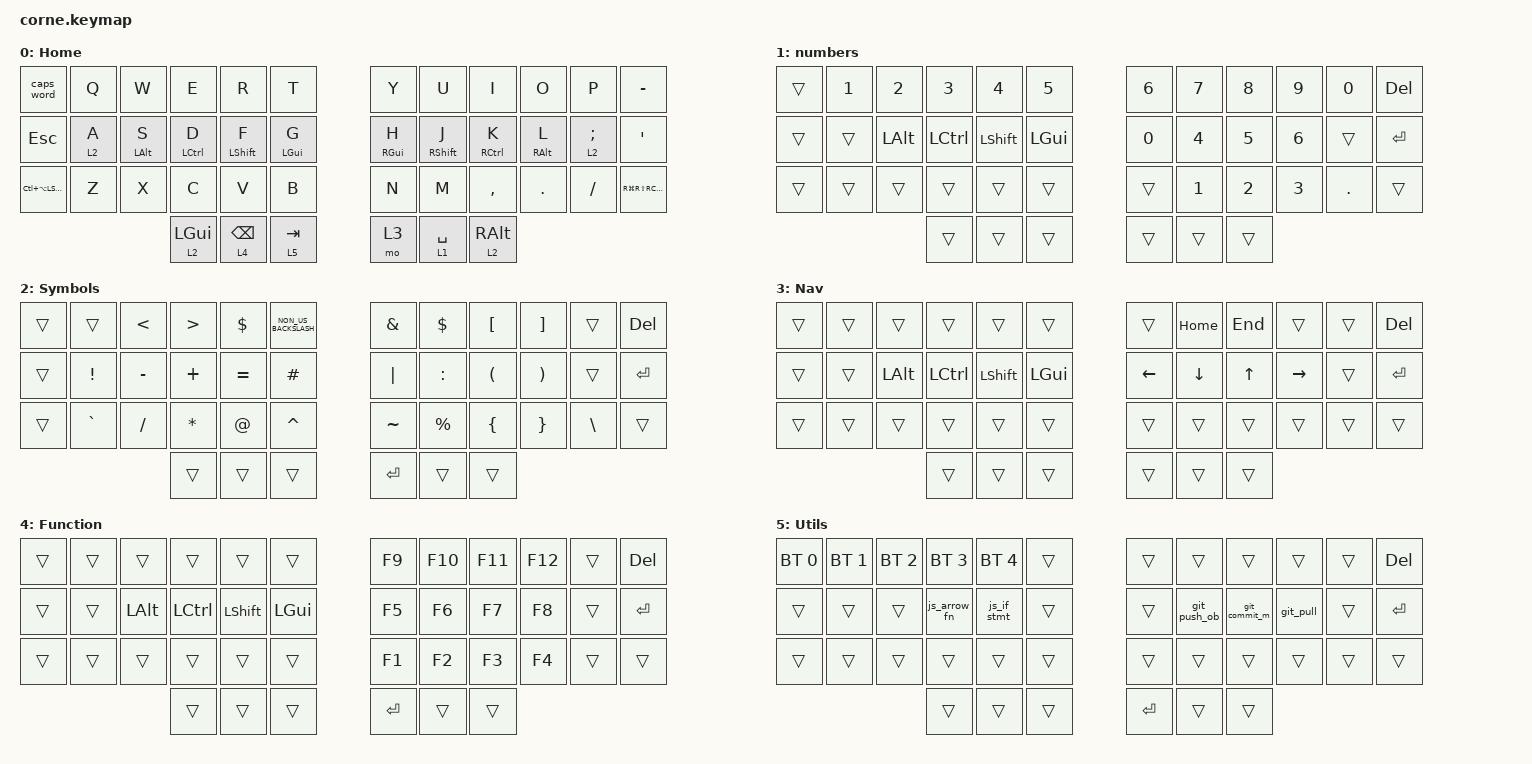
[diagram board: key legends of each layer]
/*
 * Copyright (c) 2020 The ZMK Contributors
 *
 * SPDX-License-Identifier: MIT
 */

#include <behaviors.dtsi>
#include <dt-bindings/zmk/bt.h>
#include <dt-bindings/zmk/keys.h>

/ {
    behaviors {
        hm_l: hm_l {
            compatible = "zmk,behavior-hold-tap";
            #binding-cells = <2>;
            flavor = "tap-preferred";
            tapping-term-ms = <175>;
            quick-tap-ms = <30>;

            // Optional but often GREAT for HRMs:

            hold-trigger-on-release;
            bindings = <&kp>, <&kp>;

            // allow holds only when next key is on RIGHT side (including right thumbs)

            hold-trigger-key-positions = <6 7 8 9 10 11 18 19 20 21 22 23 30 31 32 33 34 35 39 40 41>;
        };

        hm_r: hm_r {
            compatible = "zmk,behavior-hold-tap";
            #binding-cells = <2>;
            flavor = "tap-preferred";
            tapping-term-ms = <175>;
            quick-tap-ms = <30>;
            hold-trigger-on-release;
            bindings = <&kp>, <&kp>;

            // allow holds only when next key is on LEFT side (including left thumbs)

            hold-trigger-key-positions = <0 1 2 3 4 5 12 13 14 15 16 17 24 25 26 27 28 29 36 37 38>;
        };
    };

    combos {
        compatible = "zmk,combos";

        clear_bt {
            bindings = <&bt BT_CLR_ALL>;
            key-positions = <3 4 5 6 7 8>;
        };
    };

    macros {
        git_push_ob: git_push_ob {
            compatible = "zmk,behavior-macro";
            #binding-cells = <0>;
            bindings = <&kp G &kp I &kp T &kp SPACE &kp P &kp U &kp S &kp H &kp SPACE &kp MINUS &kp U &kp SPACE &kp O &kp R &kp I &kp G &kp I &kp N &kp SPACE &kp DLLR &kp LPAR &kp B &kp R &kp A &kp N &kp C &kp H &kp RPAR>;
            label = "GIT_PUSH_OB";
        };

        git_commit_m: git_commit_m {
            compatible = "zmk,behavior-macro";
            #binding-cells = <0>;
            bindings = <&kp G &kp I &kp T &kp SPACE &kp C &kp O &kp M &kp M &kp I &kp T &kp SPACE &kp MINUS &kp M &kp SPACE &kp DQT &kp DQT &kp LEFT>;
            label = "GIT_COMMIT_M";
        };

        git_pull: git_pull {
            compatible = "zmk,behavior-macro";
            #binding-cells = <0>;
            bindings = <&kp G &kp I &kp T &kp SPACE &kp P &kp U &kp L &kp L>;
            label = "GIT_PULL";
        };

        js_if_stmt: js_if_stmt {
            compatible = "zmk,behavior-macro";
            #binding-cells = <0>;
            bindings = <&kp I &kp F &kp SPACE &kp LPAR &kp RPAR &kp SPACE &kp LBRC &kp RBRC &kp LEFT_ARROW &kp LEFT &kp LEFT_ARROW &kp LEFT>;
            label = "JS_IF_STMT";
        };

        js_arrow_fn: js_arrow_fn {
            compatible = "zmk,behavior-macro";
            #binding-cells = <0>;
            bindings = <&kp LPAR &kp RPAR &kp SPACE &kp EQUAL &kp GT &kp SPACE &kp LBRC &kp RET &kp RET &kp RBRC &kp UP_ARROW &kp TAB>;
            label = "JS_ARROW_FN";
        };
    };

    keymap {
        compatible = "zmk,keymap";

        default_layer {
            display-name = "Home";
            bindings = <
&caps_word         &kp Q    &kp W             &kp E           &kp R               &kp T           &kp Y         &kp U                &kp I            &kp O              &kp P            &kp MINUS
&kp ESCAPE         &lt 2 A  &hm_l LEFT_ALT S  &hm_l LCTRL D   &hm_l LEFT_SHIFT F  &hm_l LGUI G    &hm_r RGUI H  &hm_r RIGHT_SHIFT J  &hm_r RCTRL K    &hm_r RIGHT_ALT L  &lt 2 SEMICOLON  &kp SQT
&kp LC(LA(LSHFT))  &kp Z    &kp X             &kp C           &kp V               &kp B           &kp N         &kp M                &kp COMMA        &kp DOT            &kp FSLH         &kp RG(RS(RC(RIGHT_ALT)))
                                              &lt 2 LEFT_GUI  &lt 4 BACKSPACE     &lt 5 TAB       &mo 3         &lt 1 SPACE          &lt 2 RIGHT_ALT
            >;
        };

        numbers {
            display-name = "numbers";
            bindings = <
&trans  &kp NUMBER_1  &kp NUMBER_2  &kp NUMBER_3  &kp NUMBER_4    &kp NUMBER_5    &kp NUMBER_6  &kp N7        &kp N8        &kp N9        &kp NUMBER_0  &kp DELETE
&trans  &trans        &kp LEFT_ALT  &kp LCTRL     &kp LEFT_SHIFT  &kp LGUI        &kp NUMBER_0  &kp NUMBER_4  &kp N5        &kp NUMBER_6  &trans        &kp RETURN
&trans  &trans        &trans        &trans        &trans          &trans          &trans        &kp NUMBER_1  &kp NUMBER_2  &kp NUMBER_3  &kp PERIOD    &trans
                                    &trans        &trans          &trans          &trans        &trans        &trans
            >;
        };

        symbols {
            display-name = "Symbols";
            bindings = <
&trans  &trans           &kp LESS_THAN  &kp GREATER_THAN  &kp DLLR     &kp NON_US_BACKSLASH    &kp AMPERSAND  &kp DOLLAR  &kp LEFT_BRACKET      &kp RIGHT_BRACKET      &trans         &kp DELETE
&trans  &kp EXCLAMATION  &kp MINUS      &kp PLUS          &kp EQUAL    &kp HASH                &kp PIPE       &kp COLON   &kp LEFT_PARENTHESIS  &kp RIGHT_PARENTHESIS  &trans         &kp RETURN
&trans  &kp GRAVE        &kp SLASH      &kp ASTERISK      &kp AT_SIGN  &kp CARET               &kp TILDE      &kp PRCNT   &kp LBRC              &kp RBRC               &kp BACKSLASH  &trans
                                        &trans            &trans       &trans                  &kp RETURN     &trans      &trans
            >;
        };

        nav {
            display-name = "Nav";
            bindings = <
&trans  &trans  &trans        &trans            &trans          &trans      &trans    &kp HOME  &kp END       &trans     &trans  &kp DELETE
&trans  &trans  &kp LEFT_ALT  &kp LEFT_CONTROL  &kp LEFT_SHIFT  &kp LGUI    &kp LEFT  &kp DOWN  &kp UP_ARROW  &kp RIGHT  &trans  &kp RETURN
&trans  &trans  &trans        &trans            &trans          &trans      &trans    &trans    &trans        &trans     &trans  &trans
                              &trans            &trans          &trans      &trans    &trans    &trans
            >;
        };

        function {
            display-name = "Function";
            bindings = <
&trans  &trans  &trans    &trans     &trans     &trans      &kp F9      &kp F10  &kp F11  &kp F12  &trans  &kp DELETE
&trans  &trans  &kp LALT  &kp LCTRL  &kp LSHFT  &kp LGUI    &kp F5      &kp F6   &kp F7   &kp F8   &trans  &kp RETURN
&trans  &trans  &trans    &trans     &trans     &trans      &kp F1      &kp F2   &kp F3   &kp F4   &trans  &trans
                          &trans     &trans     &trans      &kp RETURN  &trans   &trans
            >;
        };

        utils {
            display-name = "Utils";
            bindings = <
&bt BT_SEL 0  &bt BT_SEL 1  &bt BT_SEL 2  &bt BT_SEL 3  &bt BT_SEL 4  &trans    &trans      &trans        &trans         &trans     &trans  &kp DELETE
&trans        &trans        &trans        &js_arrow_fn  &js_if_stmt   &trans    &trans      &git_push_ob  &git_commit_m  &git_pull  &trans  &kp RETURN
&trans        &trans        &trans        &trans        &trans        &trans    &trans      &trans        &trans         &trans     &trans  &trans
                                          &trans        &trans        &trans    &kp RETURN  &trans        &trans
            >;
        };
    };
};
